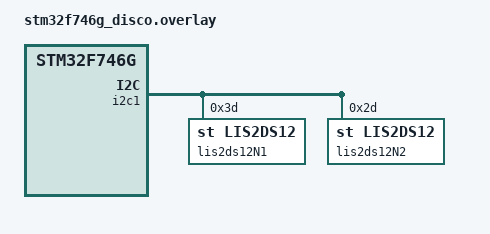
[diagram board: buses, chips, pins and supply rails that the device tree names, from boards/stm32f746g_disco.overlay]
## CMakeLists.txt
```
# Copyright (c) 2025 Antmicro <www.antmicro.com>
#
# SPDX-License-Identifier: Apache-2.0


cmake_minimum_required(VERSION 3.13.1)
find_package(Zephyr REQUIRED HINTS $ENV{ZEPHYR_BASE})

project(app LANGUAGES C)

target_sources(app PRIVATE src/main.c)
```

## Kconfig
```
# Copyright (c) 2025 Antmicro <www.antmicro.com>
#
# SPDX-License-Identifier: Apache-2.0

menu "Zephyr"
source "Kconfig.zephyr"
endmenu

config CSV_READER_DELAY
    int "Delay between sensor reads"
    default 200
    depends on PROVIDER_LIB

config CSV_READER_SAMPLE_COUNT
    int "Number of sensor samples to collect (0 for unlimited)"
    default 0
    depends on PROVIDER_LIB

config CSV_READER_MAX_ROW_SIZE
    int "Max sum of channels in available sensors"
    default 128
    depends on PROVIDER_LIB

module = APP
module-str = app
source "subsys/logging/Kconfig.template.log_config"
```

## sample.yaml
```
sample:
  name: simple
common:
  platform_allow:
    - stm32f746g_disco
tests:
  sample.sensors.robot:
    harness: robot
    harness_config:
      robot_testsuite: sensors.robot
```

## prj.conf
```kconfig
# Copyright (c) 2025 Antmicro <www.antmicro.com>
#
# SPDX-License-Identifier: Apache-2.0


CONFIG_SENSOR=y
CONFIG_PROVIDER_LIB=y
CONFIG_LIS2DS12=y
CONFIG_CBPRINTF_FP_SUPPORT=y
```

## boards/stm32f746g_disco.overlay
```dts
&i2c1 {
    lis2ds12N1: lis2ds12@3d {
        compatible = "st,lis2ds12";
        reg = <0x3d>;
        status = "okay";
    };
    lis2ds12N2: lis2ds12@2d {
        compatible = "st,lis2ds12";
        reg = <0x2d>;
        status = "okay";
    };
};
```

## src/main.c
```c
#include <zephyr/kernel.h>

#include <stdio.h>

#include <provider_lib/provider.h>
#include <provider_lib/providers/sensor.h>

int main()
{
    static struct provider_reader pr = {
        .dst_N = 0,
        .ps_N = 0,
    };

    static float buffer[CONFIG_CSV_READER_MAX_ROW_SIZE];
    static struct provider_hdr_entry hdr[CONFIG_CSV_READER_MAX_ROW_SIZE];

    provider_reader_register_all_sensor(&pr);
    provider_reader_hdr(&pr, hdr);

    if (sizeof(buffer) / sizeof(buffer[0]) < pr.dst_N)
    {
        printk("Insufficient buffer size: %u < %u", sizeof(buffer) / sizeof(buffer[0]), pr.dst_N);
        return -1;
    }

    uint32_t i = 0;
    while (1)
    {
        printf("%d_%d", hdr[i].provider_id, hdr[i].chan);
        if (++i < pr.dst_N)
        {
            putchar(',');
            continue;
        }
        puts("");
        break;
    }

    uint32_t sample_count = 0;

    while (1)
    {
        provider_reader_read_all(&pr, buffer);

        uint32_t i = 0;
        while (1)
        {
            printf("%lf", (double)buffer[i]);
            if (++i < pr.dst_N)
            {
                putchar(',');
                continue;
            }
            puts("");
            break;
        }
        k_msleep(CONFIG_CSV_READER_DELAY);

        if (CONFIG_CSV_READER_SAMPLE_COUNT > 0 && ++sample_count >= CONFIG_CSV_READER_SAMPLE_COUNT)
        {
            break;
        }
    }
}
```
